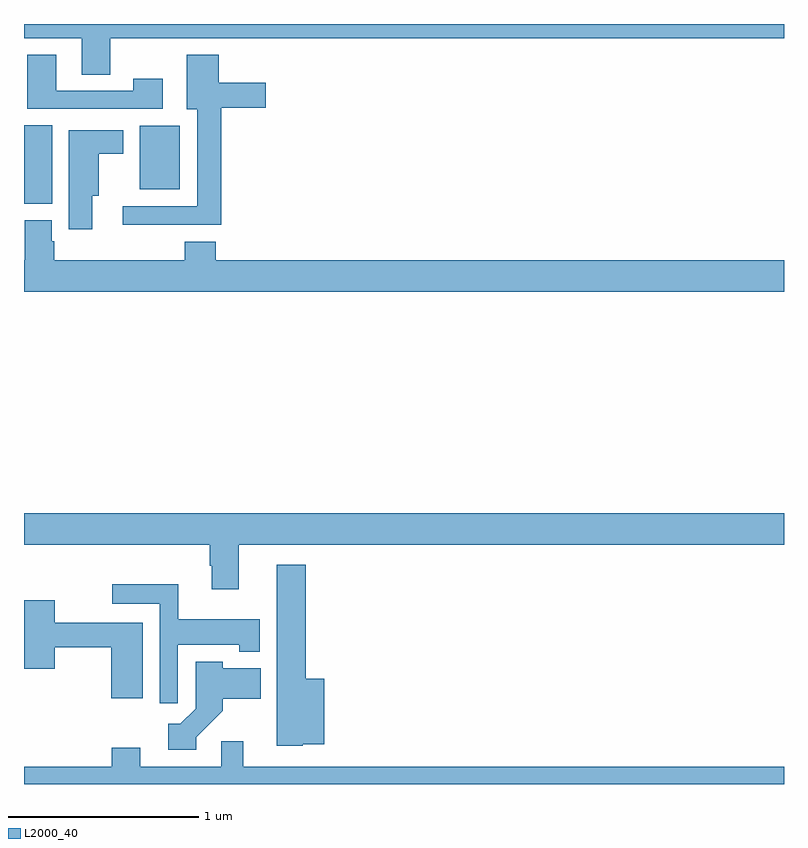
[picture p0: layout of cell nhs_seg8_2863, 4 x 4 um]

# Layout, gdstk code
import gdstk
lib = gdstk.Library(unit=1e-6, precision=1e-09)
def R(c, l, rs):  # rectangles x0, y0, x1, y1
    for r in rs: c.add(gdstk.rectangle(r[:2], r[2:], *l))
def P(c, l, *ps):  # polygons
    for p in ps: c.add(gdstk.Polygon(p, *l))
L2000_40 = (2000, 40)

nhs_seg8_2863 = lib.new_cell('nhs_seg8_2863')
R(nhs_seg8_2863, L2000_40, [(291.608,1125.029,291.82,1125.364)])
P(nhs_seg8_2863, L2000_40, [(291.453,1125.824),(295,1125.824),(295,1125.9),(291,1125.9),(291,1125.824),(291.305,1125.824),(291.305,1125.634),(291.453,1125.634)],
  [(291.73,1125.613),(291.574,1125.613),(291.574,1125.549),(291.169,1125.549),(291.169,1125.739),(291.017,1125.739),(291.017,1125.453),(291.73,1125.453)],
  [(292.037,1125.458),(292.273,1125.458),(292.273,1125.592),(292.024,1125.592),(292.024,1125.739),(291.857,1125.739),(291.857,1125.452),(291.911,1125.452),(291.911,1124.94),(291.519,1124.94),(291.519,1124.843),(292.037,1124.843)],
  [(291.148,1125.368),(291.002,1125.368),(291.002,1125.314),(291,1125.314),(291,1125.167),(291.002,1125.167),(291.002,1124.953),(291.148,1124.953)],
  [(291.358,1124.996),(291.394,1124.996),(291.394,1125.218),(291.523,1125.218),(291.523,1125.34),(291.236,1125.34),(291.236,1124.82),(291.358,1124.82)],
  [(295,1124.656),(292.01,1124.656),(292.01,1124.755),(291.845,1124.755),(291.845,1124.656),(291.158,1124.656),(291.158,1124.757),(291.145,1124.757),(291.145,1124.868),(291.005,1124.868),(291.005,1124.656),(291,1124.656),(291,1124.492),(295,1124.492)],
  [(292.129,1123.16),(295,1123.16),(295,1123.324),(291,1123.324),(291,1123.16),(291.977,1123.16),(291.977,1123.05),(291.989,1123.05),(291.989,1122.924),(292.129,1122.924)],
  [(292.467,1122.11),(292.579,1122.11),(292.579,1122.454),(292.484,1122.454),(292.484,1123.054),(292.331,1123.054),(292.331,1122.101),(292.467,1122.101)],
  [(291.81,1122.632),(292.134,1122.632),(292.134,1122.596),(292.242,1122.596),(292.242,1122.766),(291.811,1122.766),(291.811,1122.952),(291.465,1122.952),(291.465,1122.848),(291.714,1122.848),(291.714,1122.324),(291.81,1122.324)],
  [(291.625,1122.748),(291.162,1122.748),(291.162,1122.868),(291,1122.868),(291,1122.507),(291.162,1122.507),(291.162,1122.619),(291.458,1122.619),(291.458,1122.351),(291.625,1122.351)],
  [(291.906,1122.147),(292.045,1122.286),(292.045,1122.35),(292.246,1122.35),(292.246,1122.508),(292.045,1122.508),(292.045,1122.544),(291.903,1122.544),(291.903,1122.297),(291.823,1122.217),(291.759,1122.217),(291.759,1122.081),(291.906,1122.081)],
  [(295,1121.992),(292.153,1121.992),(292.153,1122.124),(292.038,1122.124),(292.038,1121.992),(291.613,1121.992),(291.613,1122.091),(291.461,1122.091),(291.461,1121.992),(291,1121.992),(291,1121.9),(295,1121.9)])

lib.write_gds('nhs_seg8_2863.gds')
